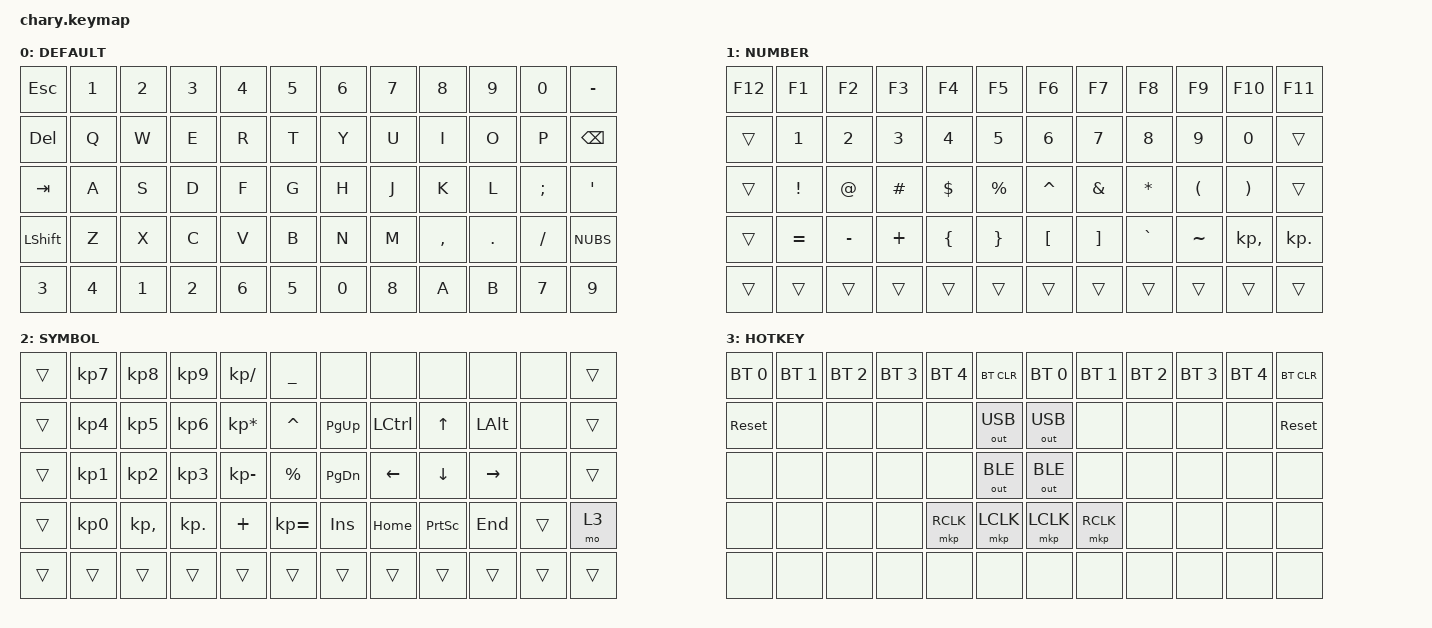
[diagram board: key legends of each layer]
#include <dt-bindings/zmk/mouse.h>
#include <behaviors.dtsi>
#include <dt-bindings/zmk/bt.h>
#include <dt-bindings/zmk/keys.h>
#include <dt-bindings/zmk/outputs.h>
#include <dt-bindings/zmk/pointing.h>

#define DEFAULT 0
#define NUMBER  1
#define SYMBOL  2
#define HOTKEY  3

/ {
    combos {
    };

    keymap {
        compatible = "zmk,keymap";

        default_layer {
            label = "DEFAULT";
            bindings = <
&kp ESC       &kp N1        &kp N2        &kp N3        &kp N4        &kp N5        &kp N6        &kp N7        &kp N8     &kp N9   &kp N0        &kp MINUS
&kp DELETE    &kp Q         &kp W         &kp E         &kp R         &kp T         &kp Y         &kp U         &kp I      &kp O    &kp P         &kp BACKSPACE
&kp TAB       &kp A         &kp S         &kp D         &kp F         &kp G         &kp H         &kp J         &kp K      &kp L    &kp SEMI      &kp SQT
&kp LSHFT     &kp Z         &kp X         &kp C         &kp V         &kp B         &kp N         &kp M         &kp COMMA  &kp DOT  &kp FSLH      &kp NUBS
&kp NUMBER_3  &kp NUMBER_4  &kp NUMBER_1  &kp NUMBER_2  &kp NUMBER_6  &kp NUMBER_5  &kp NUMBER_0  &kp NUMBER_8  &kp A      &kp B    &kp NUMBER_7  &kp NUMBER_9
            >;
        };

        number_layer {
            label = "NUMBER";
            bindings = <
&kp F12  &kp F1     &kp F2     &kp F3     &kp F4    &kp F5     &kp F6     &kp F7    &kp F8     &kp F9     &kp F10       &kp F11
&trans   &kp N1     &kp N2     &kp N3     &kp N4    &kp N5     &kp N6     &kp N7    &kp N8     &kp N9     &kp N0        &trans
&trans   &kp EXCL   &kp AT     &kp POUND  &kp DLLR  &kp PRCNT  &kp CARET  &kp AMPS  &kp STAR   &kp LPAR   &kp RPAR      &trans
&trans   &kp EQUAL  &kp MINUS  &kp PLUS   &kp LBRC  &kp RBRC   &kp LBKT   &kp RBKT  &kp GRAVE  &kp TILDE  &kp KP_COMMA  &kp KP_DOT
&trans   &trans     &trans     &trans     &trans    &trans     &trans     &trans    &trans     &trans     &trans        &trans
            >;
        };

        symbol_layer {
            label = "SYMBOL";
            bindings = <
&trans  &kp KP_N7  &kp KP_N8     &kp KP_N9   &kp KP_SLASH     &kp UNDER     &none      &none      &none      &none      &none   &trans
&trans  &kp KP_N4  &kp KP_N5     &kp KP_N6   &kp KP_ASTERISK  &kp CARET     &kp PG_UP  &kp LCTRL  &kp UP     &kp LALT   &none   &trans
&trans  &kp KP_N1  &kp KP_N2     &kp KP_N3   &kp KP_SUBTRACT  &kp PRCNT     &kp PG_DN  &kp LEFT   &kp DOWN   &kp RIGHT  &none   &trans
&trans  &kp KP_N0  &kp KP_COMMA  &kp KP_DOT  &kp PLUS         &kp KP_EQUAL  &kp INS    &kp HOME   &kp PSCRN  &kp END    &trans  &mo 3
&trans  &trans     &trans        &trans      &trans           &trans        &trans     &trans     &trans     &trans     &trans  &trans
            >;
        };

        hotkey_layer {
            label = "HOTKEY";
            bindings = <
&bt BT_SEL 0  &bt BT_SEL 1  &bt BT_SEL 2  &bt BT_SEL 3  &bt BT_SEL 4  &bt BT_CLR    &bt BT_SEL 0  &bt BT_SEL 1  &bt BT_SEL 2  &bt BT_SEL 3  &bt BT_SEL 4  &bt BT_CLR
&sys_reset    &none         &none         &none         &none         &out OUT_USB  &out OUT_USB  &none         &none         &none         &none         &sys_reset
&none         &none         &none         &none         &none         &out OUT_BLE  &out OUT_BLE  &none         &none         &none         &none         &none
&none         &none         &none         &none         &mkp RCLK     &mkp LCLK     &mkp LCLK     &mkp RCLK     &none         &none         &none         &none
&none         &none         &none         &none         &none         &none         &none         &none         &none         &none         &none         &none
            >;
        };
    };
};
